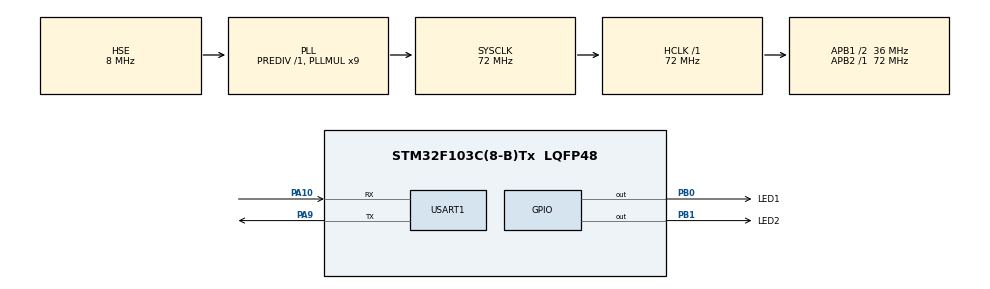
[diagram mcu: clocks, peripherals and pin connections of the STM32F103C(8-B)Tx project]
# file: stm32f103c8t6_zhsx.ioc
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Mcu.Family=STM32F1
Mcu.Name=STM32F103C(8-B)Tx
Mcu.Package=LQFP48
NVIC.PriorityGroup=NVIC_PRIORITYGROUP_4
NVIC.USART1_IRQn=true\:2\:0\:true\:false\:true\:true\:true
PA10.Mode=Asynchronous
PA10.Signal=USART1_RX
PA9.Mode=Asynchronous
PA9.Signal=USART1_TX
PB0.GPIO_Label=LED1
PB0.Signal=GPIO_Output
PB1.GPIO_Label=LED2
PB1.Signal=GPIO_Output
PD0-OSC_IN.Mode=HSE-External-Oscillator
PD0-OSC_IN.Signal=RCC_OSC_IN
PD1-OSC_OUT.Mode=HSE-External-Oscillator
PD1-OSC_OUT.Signal=RCC_OSC_OUT
ProjectManager.HeapSize=0x200
ProjectManager.StackSize=0x400
ProjectManager.TargetToolchain=STM32CubeIDE
RCC.AHBFreq_Value=72000000
RCC.APB1CLKDivider=RCC_HCLK_DIV2
RCC.APB1Freq_Value=36000000
RCC.APB1TimFreq_Value=72000000
RCC.APB2Freq_Value=72000000
RCC.APB2TimFreq_Value=72000000
RCC.HCLKFreq_Value=72000000
RCC.PLLMUL=RCC_PLL_MUL9
RCC.PLLSourceVirtual=RCC_PLLSOURCE_HSE
RCC.SYSCLKFreq_VALUE=72000000
RCC.SYSCLKSource=RCC_SYSCLKSOURCE_PLLCLK
RCC.USBFreq_Value=72000000
USART1.VirtualMode=VM_ASYNC
VP_SYS_VS_ND.Mode=No_Debug
board=custom

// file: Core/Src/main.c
/* USER CODE BEGIN Header */
/**
  ******************************************************************************
  * @file           : main.c
  * @brief          : Main program body
  ******************************************************************************
  * @attention
  *
  * <h2><center>&copy; Copyright (c) 2021 STMicroelectronics.
  * All rights reserved.</center></h2>
  *
  * This software component is licensed by ST under BSD 3-Clause license,
  * the "License"; You may not use this file except in compliance with the
  * License. You may obtain a copy of the License at:
  *                        opensource.org/licenses/BSD-3-Clause
  *
  ******************************************************************************
  */
/* USER CODE END Header */
#include "main.h"

/* USER CODE BEGIN Includes */
#include <stdio.h>
#include "bsp_delay.h"
#include "bsp_key.h"
#include "bsp_i2c.h"
#include "bsp_oled.h"
#include "bsp_hx711.h"
#include "bsp_Buzzer.h"
#include "bsp_InnerFlash.h"
/* USER CODE END Includes */

UART_HandleTypeDef huart1;

/* USER CODE BEGIN PV */
/* printf重定向*/
#define PUTCHAR_PROTOTYPE int __io_putchar(int ch)
PUTCHAR_PROTOTYPE
{
    HAL_UART_Transmit(&huart1, (uint8_t *)&ch, 1, 0xFFFF);
    return ch;
}

uint8_t ReTemp[3];
__IO uint8_t g_ucRecieveFlag=0;
/**
 * @brief 串口接收中断接收函数
 * @param UartHandle Uart handle
 */
void HAL_UART_RxCpltCallback(UART_HandleTypeDef *UartHandle)
{
    g_ucRecieveFlag = 1;
}
/* USER CODE END PV */

void SystemClock_Config(void);
static void MX_GPIO_Init(void);
static void MX_USART1_UART_Init(void);

int main(void)
{

  /* MCU Configuration--------------------------------------------------------*/

  /* Reset of all peripherals, Initializes the Flash interface and the Systick. */
  HAL_Init();

  /* Configure the system clock */
  SystemClock_Config();

  /* USER CODE BEGIN SysInit */
  bsp_Hx711Init();
  bsp_DelayInit();
  bsp_InitKey();
  IIC_Init();
  OledInit();
  bsp_BuzzerInit();
  /* USER CODE END SysInit */

  /* Initialize all configured peripherals */
  MX_GPIO_Init();
  MX_USART1_UART_Init();

  /* Infinite loop */
  /* USER CODE BEGIN WHILE */
    //OledShowStartDH();
    //OledShowStr(5,0,"Electronic Scale",2);
    bsp_GetMaopi();
    bsp_DelayMs(2000);
    bsp_BuzzerOneVocal();
    bsp_GetMaopi();
    HAL_UART_Receive_IT(&huart1,ReTemp,3);
  while (1)
  {
#if 1
     uint32_t  hx_ad;
      if(g_ucRecieveFlag)
      {
          g_ucRecieveFlag=0;
          HAL_UART_Receive_IT(&huart1,ReTemp,3);
          uint32_t Val = (ReTemp[0]<<32)|(ReTemp[1]<<24)|(ReTemp[2]<<16);
          if(Val=0x51503100) //确认接收到去皮指令
              bsp_GetMaopi();
      }
     hx_ad = bsp_Hx711Read();
     Get_Weight();
     printf("称重重量为：%d g\n",Weight_Shiwu);
     if(Weight_Shiwu>CZ_H_FLAG)
         bsp_BuzzerOneVocal();
     Oled_ShowTitle();
     bsp_DelayMs(20);
    /* USER CODE END WHILE */

    /* USER CODE BEGIN 3 */
      uint8_t ucKeyCode=0;
      ucKeyCode = bsp_GetKey();
      if (ucKeyCode != KEY_NONE)
      {
          switch (ucKeyCode)
          {
              case KEY_DOWN_K4:				 //K1长按
                  HAL_GPIO_TogglePin(LED1_GPIO_Port,LED1_Pin);
                  bsp_GetMaopi();
                  bsp_BuzzerOneVocal();
                  break;
              case KEY_LONG_K4:               //K1K2长按
                  HAL_GPIO_TogglePin(LED2_GPIO_Port,LED2_Pin);
                  Oled_SetWin();
                  break;
          }
      }
#endif
  }
  /* USER CODE END 3 */
}

void SystemClock_Config(void)
{
  RCC_OscInitTypeDef RCC_OscInitStruct = {0};
  RCC_ClkInitTypeDef RCC_ClkInitStruct = {0};

  /** Initializes the RCC Oscillators according to the specified parameters
  * in the RCC_OscInitTypeDef structure.
  */
  RCC_OscInitStruct.OscillatorType = RCC_OSCILLATORTYPE_HSE;
  RCC_OscInitStruct.HSEState = RCC_HSE_ON;
  RCC_OscInitStruct.HSEPredivValue = RCC_HSE_PREDIV_DIV1;
  RCC_OscInitStruct.HSIState = RCC_HSI_ON;
  RCC_OscInitStruct.PLL.PLLState = RCC_PLL_ON;
  RCC_OscInitStruct.PLL.PLLSource = RCC_PLLSOURCE_HSE;
  RCC_OscInitStruct.PLL.PLLMUL = RCC_PLL_MUL9;
  if (HAL_RCC_OscConfig(&RCC_OscInitStruct) != HAL_OK)
  {
    Error_Handler();
  }
  /** Initializes the CPU, AHB and APB buses clocks
  */
  RCC_ClkInitStruct.ClockType = RCC_CLOCKTYPE_HCLK|RCC_CLOCKTYPE_SYSCLK
                              |RCC_CLOCKTYPE_PCLK1|RCC_CLOCKTYPE_PCLK2;
  RCC_ClkInitStruct.SYSCLKSource = RCC_SYSCLKSOURCE_PLLCLK;
  RCC_ClkInitStruct.AHBCLKDivider = RCC_SYSCLK_DIV1;
  RCC_ClkInitStruct.APB1CLKDivider = RCC_HCLK_DIV2;
  RCC_ClkInitStruct.APB2CLKDivider = RCC_HCLK_DIV1;

  if (HAL_RCC_ClockConfig(&RCC_ClkInitStruct, FLASH_LATENCY_2) != HAL_OK)
  {
    Error_Handler();
  }
}

static void MX_USART1_UART_Init(void)
{

  huart1.Instance = USART1;
  huart1.Init.BaudRate = 115200;
  huart1.Init.WordLength = UART_WORDLENGTH_8B;
  huart1.Init.StopBits = UART_STOPBITS_1;
  huart1.Init.Parity = UART_PARITY_NONE;
  huart1.Init.Mode = UART_MODE_TX_RX;
  huart1.Init.HwFlowCtl = UART_HWCONTROL_NONE;
  huart1.Init.OverSampling = UART_OVERSAMPLING_16;
  if (HAL_UART_Init(&huart1) != HAL_OK)
  {
    Error_Handler();
  }

}

static void MX_GPIO_Init(void)
{
  GPIO_InitTypeDef GPIO_InitStruct = {0};

  /* GPIO Ports Clock Enable */
  __HAL_RCC_GPIOD_CLK_ENABLE();
  __HAL_RCC_GPIOB_CLK_ENABLE();
  __HAL_RCC_GPIOA_CLK_ENABLE();

  /*Configure GPIO pin Output Level */
  HAL_GPIO_WritePin(GPIOB, LED1_Pin|LED2_Pin, GPIO_PIN_RESET);

  /*Configure GPIO pins : LED1_Pin LED2_Pin */
  GPIO_InitStruct.Pin = LED1_Pin|LED2_Pin;
  GPIO_InitStruct.Mode = GPIO_MODE_OUTPUT_PP;
  GPIO_InitStruct.Pull = GPIO_NOPULL;
  GPIO_InitStruct.Speed = GPIO_SPEED_FREQ_LOW;
  HAL_GPIO_Init(GPIOB, &GPIO_InitStruct);

}

void Error_Handler(void)
{
  __disable_irq();
  while (1)
  {
  }
}

/************************ (C) COPYRIGHT STMicroelectronics *****END OF FILE****/
